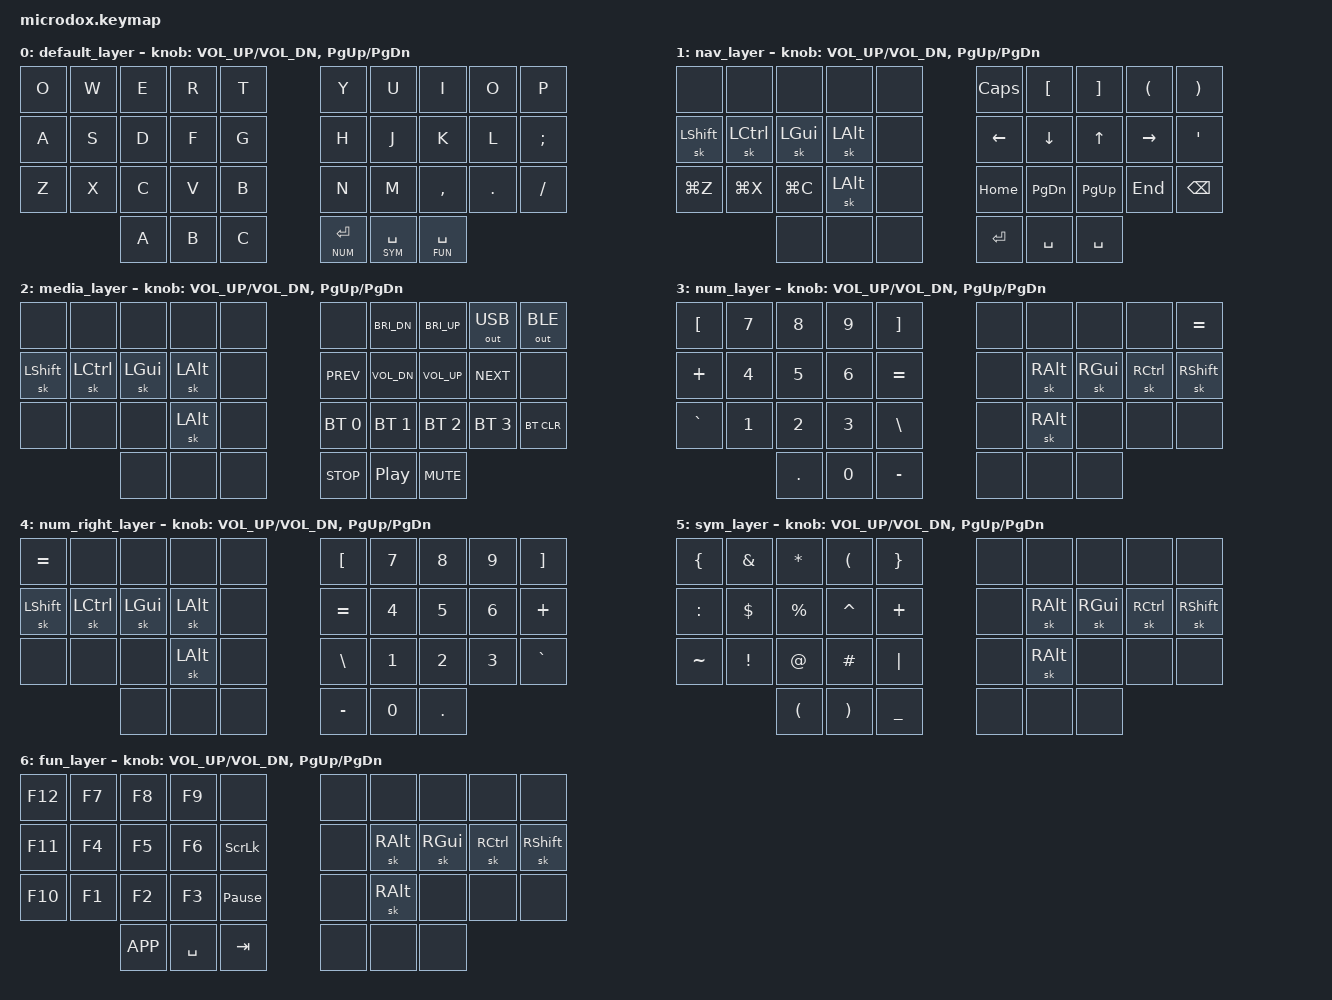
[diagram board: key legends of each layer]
/*
 * Copyright (c) 2020 The ZMK Contributors
 *
 * SPDX-License-Identifier: MIT
 */

#include <behaviors.dtsi>
#include <dt-bindings/zmk/keys.h>
#include <dt-bindings/zmk/bt.h>
#include <dt-bindings/zmk/outputs.h>



#define BASE        0
#define NAV         1
#define MEDIA       2
#define NUM         3
#define NUM_RIGHT   4
#define SYM         5
#define FUN         6


&lt { quick_tap_ms = <200>; };

&sk {
    release-after-ms = <2000>;
    quick-release;
};

/ {
  combos {
    compatible = "zmk,combos";
    
      l_shift {
        timeout-ms = <50>;
        key-positions = <20 21>;
        bindings = <&sk LSHFT>;
      };
      l_ctrl {
        timeout-ms = <50>;
        key-positions = <21 22>;
        bindings = <&sk LCTRL>;
      };
      l_gui {
        timeout-ms = <50>;
        key-positions = <22 23>;
        bindings = <&sk LGUI>;
      };
      l_alt {
        timeout-ms = <50>;
        key-positions = <23 24>;
        bindings = <&sk LALT>;
      };

      
      l_shift_pinky {
        timeout-ms = <50>;
        key-positions=<10 20>;
        bindings=<&sk LSHFT>;
      };

      l_gui_thumb {
        timeout-ms = <50>;
        key-positions = <31 32>;
        bindings = <&sk LGUI>;
      };


      r_gui_thumb {
        timeout-ms = <50>;
        key-positions = <33 34>;
        bindings = <&sk RGUI>;
      };

      r_shift_pinky {
        timeout-ms = <50>;
        key-positions=<19 29>;
        bindings=<&sk RSHFT>;
      };


      r_alt {
        timeout-ms = <50>;
        key-positions = <25 26>;
        bindings = <&sk RALT>;
      };

      r_gui {
        timeout-ms = <50>;
        key-positions = <26 27>;
        bindings = <&sk RGUI>;
      };

      r_ctrl {
        timeout-ms = <50>;
        key-positions = <27 28>;
        bindings = <&sk RCTRL>;
      };

      r_shift {
        timeout-ms = <50>;
        key-positions = <28 29>;
        bindings = <&sk RSHFT>;
      };
      
  };

  behaviors {
    hm: homerow_mods {
      compatible = "zmk,behavior-hold-tap";
      label = "homerow mods";
      #binding-cells = <2>;
      tapping_term_ms = <200>;
      flavor = "tap-preferred";
      bindings = <&kp>, <&kp>;
    };
  };
     
    keymap {
      compatible = "zmk,keymap";

      default_layer {
        bindings = <
                      &kp O &kp W &kp E &kp R &kp T          &kp Y &kp U &kp I &kp O &kp P             
                      &kp A &kp S &kp D &kp F &kp G          &kp H &kp J &kp K &kp L &kp SEMI      
                      &kp Z &kp X &kp C &kp V &kp B          &kp N &kp M &kp COMMA &kp DOT &kp SLASH  
                                  &kp A &kp B &kp C          &lt NUM RET &lt SYM SPACE &lt FUN SPACE 
        >;
                                
        sensor-bindings = <&inc_dec_kp C_VOL_UP C_VOL_DN &inc_dec_kp PG_UP PG_DN>;

      };


      nav_layer {
              bindings = <
                    &none &none &none &none &none          &kp CAPS &kp LBKT &kp RBKT &kp LPAR &kp RPAR              
      &sk LSHFT &sk LCTRL &sk LGUI &sk LALT &none          &kp LEFT &kp DOWN &kp UP &kp RIGHT &kp SQT  
     &kp LG(Z) &kp LG(X) &kp LG(C) &sk LALT &none          &kp HOME  &kp PG_DN &kp PG_UP &kp END &kp BSPC 
                                &none &none &none          &kp RET &kp SPACE &kp SPACE         
              >;

      sensor-bindings = <&inc_dec_kp C_VOL_UP C_VOL_DN &inc_dec_kp PG_UP PG_DN>;

      };

    

      media_layer {
              bindings = <
              &none &none &none &none &none          &none &kp C_BRI_DN &kp C_BRI_UP &out OUT_USB &out OUT_BLE 
&sk LSHFT &sk LCTRL &sk LGUI &sk LALT &none          &kp C_PREV &kp C_VOL_DN &kp C_VOL_UP &kp C_NEXT &none
           &none &none &none &sk LALT &none          &bt BT_SEL 0 &bt BT_SEL 1 &bt BT_SEL 2 &bt BT_SEL 3 &bt BT_CLR  
                          &none &none &none          &kp C_STOP &kp C_PP &kp C_MUTE              
              >;

      sensor-bindings = <&inc_dec_kp C_VOL_UP C_VOL_DN &inc_dec_kp PG_UP PG_DN>;
      };
            

      num_layer {
              bindings = <
            &kp LBKT &kp N7 &kp N8 &kp N9 &kp RBKT          &none &none &none &none &kp EQUAL   
          &kp PLUS &kp N4 &kp N5 &kp N6 &kp EQUAL          &none &sk RALT &sk RGUI &sk RCTRL &sk RSHFT 
          &kp GRAVE &kp N1 &kp N2 &kp N3 &kp BSLH          &none &sk RALT &none &none &none 
                          &kp DOT &kp N0 &kp MINUS          &none &none &none       

              >;

      sensor-bindings = <&inc_dec_kp C_VOL_UP C_VOL_DN &inc_dec_kp PG_UP PG_DN>;

      };

      num_right_layer {
            bindings = <
              &kp EQUAL &none &none &none &none           &kp LBKT &kp N7 &kp N8 &kp N9 &kp RBKT 
&sk LSHFT &sk LCTRL &sk LGUI &sk LALT &none           &kp EQUAL &kp N4 &kp N5 &kp N6 &kp PLUS 
           &none &none &none &sk LALT &none           &kp BSLH &kp N1 &kp N2 &kp N3 &kp GRAVE 
                          &none &none &none           &kp MINUS &kp N0 &kp DOT 

            >;

    sensor-bindings = <&inc_dec_kp C_VOL_UP C_VOL_DN &inc_dec_kp PG_UP PG_DN>;

    };


    sym_layer {
            bindings = <
    &kp LBRC &kp AMPS &kp ASTRK &kp LPAR &kp RBRC          &none &none &none &none &none   
  &kp COLON &kp DLLR &kp PRCNT &kp CARET &kp PLUS          &none &sk RALT &sk RGUI &sk RCTRL &sk RSHFT 
      &kp TILDE &kp EXCL &kp AT &kp HASH &kp PIPE          &none &sk RALT &none &none &none 
                      &kp LPAR &kp RPAR &kp UNDER          &none &none &none              

            >;

    sensor-bindings = <&inc_dec_kp C_VOL_UP C_VOL_DN &inc_dec_kp PG_UP PG_DN>;
    
    };

    fun_layer{
              bindings = <
            &kp F12 &kp F7 &kp F8 &kp F9 &none          &none &none &none &none &none  
              &kp F11 &kp F4 &kp F5 &kp F6 &kp SLCK          &none &sk RALT &sk RGUI &sk RCTRL &sk RSHFT 
      &kp F10 &kp F1 &kp F2 &kp F3 &kp PAUSE_BREAK          &none &sk RALT &none &none &none 
                        &kp K_APP &kp SPACE &kp TAB          &none &none &none  
            >;

    sensor-bindings = <&inc_dec_kp C_VOL_UP C_VOL_DN &inc_dec_kp PG_UP PG_DN>;
    };

                
  };
};
